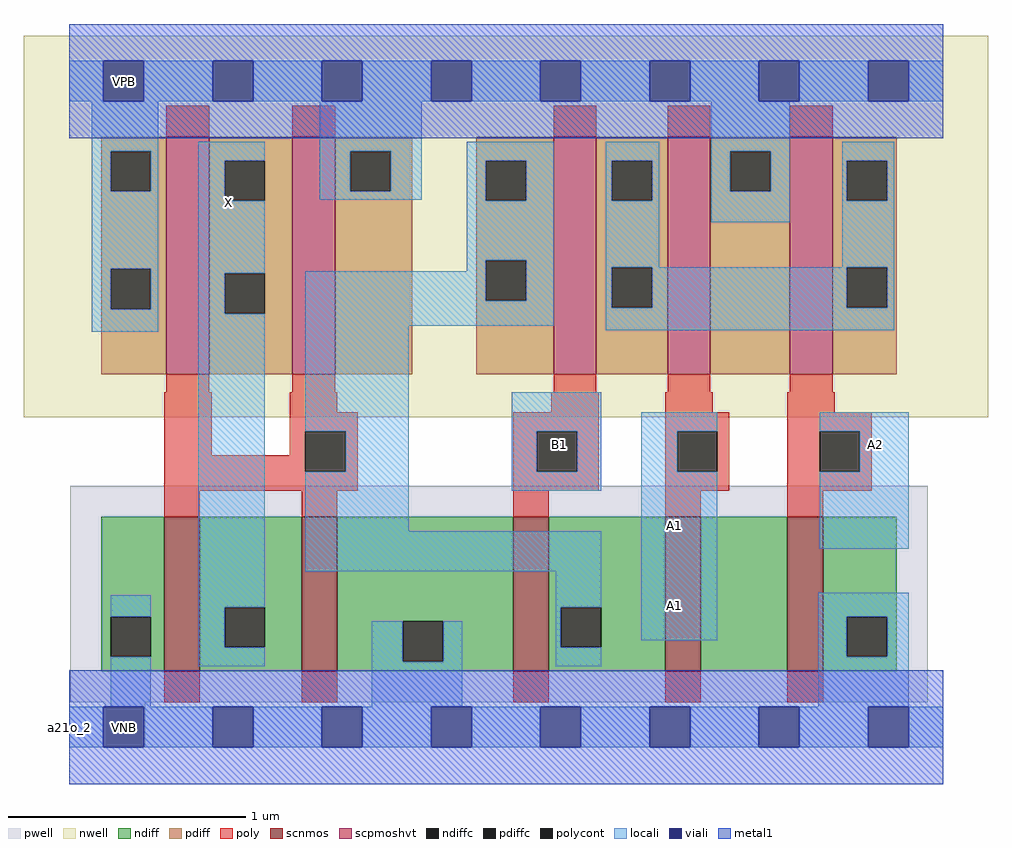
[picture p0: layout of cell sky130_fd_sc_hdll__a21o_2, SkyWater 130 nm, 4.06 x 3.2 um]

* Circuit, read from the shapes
.subckt sky130_fd_sc_hdll__a21o_2 A1 A2 B1 VGND VNB VPB VPWR X
XM1 X n1 VGND VNB sky130_fd_pr__nfet_01v8 w=0.65 l=0.15 m=2
XM2 n1 B1 VGND VNB sky130_fd_pr__nfet_01v8 w=0.65 l=0.15
XM3 n2 A1 n1 VNB sky130_fd_pr__nfet_01v8 w=0.65 l=0.15
XM4 VGND A2 n2 VNB sky130_fd_pr__nfet_01v8 w=0.65 l=0.15
XM5 X n1 VPWR VPB sky130_fd_pr__pfet_01v8_hvt w=1 l=0.18 m=2
XM6 n3 B1 n1 VPB sky130_fd_pr__pfet_01v8_hvt w=1 l=0.18
XM7 VPWR A1 n3 VPB sky130_fd_pr__pfet_01v8_hvt w=1 l=0.18
XM8 n3 A2 VPWR VPB sky130_fd_pr__pfet_01v8_hvt w=1 l=0.18
.ends

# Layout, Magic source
magic
tech sky130A
magscale 1 2
<< nwell >>
rect -38 261 774 582
<< pwell >>
rect 1 21 723 203
rect 30 -17 64 21
<< scnmos >>
rect 80 47 110 177
rect 196 47 226 177
rect 374 47 404 177
rect 502 47 532 177
rect 605 47 635 177
<< scpmoshvt >>
rect 82 297 118 497
rect 188 297 224 497
rect 408 297 444 497
rect 504 297 540 497
rect 607 297 643 497
<< ndiff >>
rect 27 93 80 177
rect 27 59 35 93
rect 69 59 80 93
rect 27 47 80 59
rect 110 101 196 177
rect 110 67 131 101
rect 165 67 196 101
rect 110 47 196 67
rect 226 89 374 177
rect 226 55 281 89
rect 315 55 374 89
rect 226 47 374 55
rect 404 101 502 177
rect 404 67 414 101
rect 448 67 502 101
rect 404 47 502 67
rect 532 47 605 177
rect 635 93 697 177
rect 635 59 655 93
rect 689 59 697 93
rect 635 47 697 59
<< pdiff >>
rect 27 485 82 497
rect 27 451 35 485
rect 69 451 82 485
rect 27 386 82 451
rect 27 352 35 386
rect 69 352 82 386
rect 27 297 82 352
rect 118 477 188 497
rect 118 443 131 477
rect 165 443 188 477
rect 118 382 188 443
rect 118 348 131 382
rect 165 348 188 382
rect 118 297 188 348
rect 224 485 289 497
rect 224 451 237 485
rect 271 451 289 485
rect 224 297 289 451
rect 343 477 408 497
rect 343 443 351 477
rect 385 443 408 477
rect 343 393 408 443
rect 343 359 351 393
rect 385 359 408 393
rect 343 297 408 359
rect 444 477 504 497
rect 444 443 457 477
rect 491 443 504 477
rect 444 387 504 443
rect 444 353 457 387
rect 491 353 504 387
rect 444 297 504 353
rect 540 485 607 497
rect 540 451 557 485
rect 591 451 607 485
rect 540 297 607 451
rect 643 477 697 497
rect 643 443 655 477
rect 689 443 697 477
rect 643 387 697 443
rect 643 353 655 387
rect 689 353 697 387
rect 643 297 697 353
<< ndiffc >>
rect 35 59 69 93
rect 131 67 165 101
rect 281 55 315 89
rect 414 67 448 101
rect 655 59 689 93
<< pdiffc >>
rect 35 451 69 485
rect 35 352 69 386
rect 131 443 165 477
rect 131 348 165 382
rect 237 451 271 485
rect 351 443 385 477
rect 351 359 385 393
rect 457 443 491 477
rect 457 353 491 387
rect 557 451 591 485
rect 655 443 689 477
rect 655 353 689 387
<< poly >>
rect 82 497 118 523
rect 188 497 224 523
rect 408 497 444 523
rect 504 497 540 523
rect 607 497 643 523
rect 82 282 118 297
rect 188 282 224 297
rect 408 282 444 297
rect 504 282 540 297
rect 607 282 643 297
rect 80 229 120 282
rect 186 265 226 282
rect 406 265 446 282
rect 186 249 243 265
rect 186 229 199 249
rect 80 215 199 229
rect 233 215 243 249
rect 80 199 243 215
rect 374 249 446 265
rect 374 215 394 249
rect 428 215 446 249
rect 374 199 446 215
rect 502 265 542 282
rect 605 265 645 282
rect 502 249 556 265
rect 502 215 512 249
rect 546 215 556 249
rect 502 199 556 215
rect 605 249 676 265
rect 605 215 632 249
rect 666 215 676 249
rect 605 199 676 215
rect 80 177 110 199
rect 196 177 226 199
rect 374 177 404 199
rect 502 177 532 199
rect 605 177 635 199
rect 80 21 110 47
rect 196 21 226 47
rect 374 21 404 47
rect 502 21 532 47
rect 605 21 635 47
<< polycont >>
rect 199 215 233 249
rect 394 215 428 249
rect 512 215 546 249
rect 632 215 666 249
<< locali >>
rect 0 527 29 561
rect 63 527 121 561
rect 155 527 213 561
rect 247 527 305 561
rect 339 527 397 561
rect 431 527 489 561
rect 523 527 581 561
rect 615 527 673 561
rect 707 527 736 561
rect 19 485 75 527
rect 19 451 35 485
rect 69 451 75 485
rect 19 386 75 451
rect 19 352 35 386
rect 69 352 75 386
rect 19 333 75 352
rect 109 477 165 493
rect 109 443 131 477
rect 211 485 297 527
rect 211 451 237 485
rect 271 451 297 485
rect 211 444 297 451
rect 335 477 408 493
rect 109 382 165 443
rect 335 443 351 477
rect 385 443 408 477
rect 335 393 408 443
rect 335 384 351 393
rect 109 348 131 382
rect 35 93 69 111
rect 35 17 69 59
rect 109 101 165 348
rect 199 359 351 384
rect 385 359 408 393
rect 199 338 408 359
rect 452 477 497 493
rect 452 443 457 477
rect 491 443 497 477
rect 452 387 497 443
rect 541 485 607 527
rect 541 451 557 485
rect 591 451 607 485
rect 541 425 607 451
rect 651 477 695 493
rect 651 443 655 477
rect 689 443 695 477
rect 651 387 695 443
rect 452 353 457 387
rect 491 353 655 387
rect 689 353 695 387
rect 199 249 286 338
rect 452 334 695 353
rect 233 215 286 249
rect 199 165 286 215
rect 373 249 448 282
rect 373 215 394 249
rect 428 215 448 249
rect 373 199 448 215
rect 482 249 546 265
rect 482 215 512 249
rect 199 131 448 165
rect 109 67 131 101
rect 410 101 448 131
rect 109 51 165 67
rect 255 55 281 89
rect 315 55 331 89
rect 255 17 331 55
rect 410 67 414 101
rect 482 73 546 215
rect 632 249 707 265
rect 666 215 707 249
rect 632 150 707 215
rect 631 93 707 113
rect 410 51 448 67
rect 631 59 655 93
rect 689 59 707 93
rect 631 17 707 59
rect 0 -17 29 17
rect 63 -17 121 17
rect 155 -17 213 17
rect 247 -17 305 17
rect 339 -17 397 17
rect 431 -17 489 17
rect 523 -17 581 17
rect 615 -17 673 17
rect 707 -17 736 17
<< viali >>
rect 29 527 63 561
rect 121 527 155 561
rect 213 527 247 561
rect 305 527 339 561
rect 397 527 431 561
rect 489 527 523 561
rect 581 527 615 561
rect 673 527 707 561
rect 29 -17 63 17
rect 121 -17 155 17
rect 213 -17 247 17
rect 305 -17 339 17
rect 397 -17 431 17
rect 489 -17 523 17
rect 581 -17 615 17
rect 673 -17 707 17
<< metal1 >>
rect 0 561 736 592
rect 0 527 29 561
rect 63 527 121 561
rect 155 527 213 561
rect 247 527 305 561
rect 339 527 397 561
rect 431 527 489 561
rect 523 527 581 561
rect 615 527 673 561
rect 707 527 736 561
rect 0 496 736 527
rect 0 17 736 48
rect 0 -17 29 17
rect 63 -17 121 17
rect 155 -17 213 17
rect 247 -17 305 17
rect 339 -17 397 17
rect 431 -17 489 17
rect 523 -17 581 17
rect 615 -17 673 17
rect 707 -17 736 17
rect 0 -48 736 -17
<< labels >>
flabel locali s 117 425 151 459 0 FreeSans 340 0 0 0 X
port 8 nsew signal output
flabel locali s 396 221 430 255 0 FreeSans 340 0 0 0 B1
port 3 nsew signal input
flabel locali s 493 153 527 187 0 FreeSans 340 0 0 0 A1
port 1 nsew signal input
flabel locali s 662 221 696 255 0 FreeSans 340 0 0 0 A2
port 2 nsew signal input
flabel locali s 493 85 527 119 0 FreeSans 340 0 0 0 A1
port 1 nsew signal input
flabel pwell s 30 -17 64 17 0 FreeSans 200 0 0 0 VNB
port 5 nsew ground bidirectional
flabel nwell s 30 527 64 561 0 FreeSans 200 0 0 0 VPB
port 6 nsew power bidirectional
flabel metal1 s 30 -17 64 17 0 FreeSans 200 0 0 0 VGND
port 4 nsew ground bidirectional
flabel metal1 s 30 527 64 561 0 FreeSans 200 0 0 0 VPWR
port 7 nsew power bidirectional
rlabel comment s 0 0 0 0 4 a21o_2
<< properties >>
string LEFsite unithd
string LEFclass CORE
string FIXED_BBOX 0 0 736 544
string GDS_FILE $PDKPATH/libs.ref/sky130_fd_sc_hdll/gds/sky130_fd_sc_hdll.gds
string LEFsymmetry X Y R90
string GDS_END 1354390
string GDS_START 1348628
string LEFproperties maskLayoutSubType "abstract" prCellType "standard" originalViewName "layout"
<< end >>
